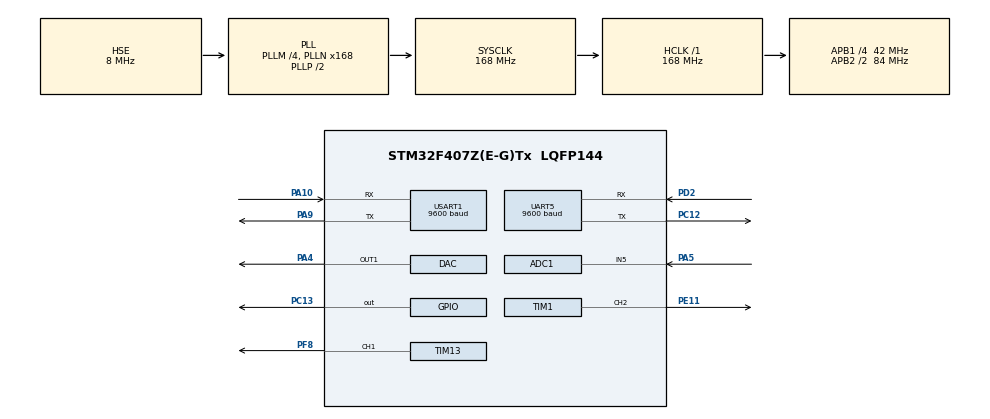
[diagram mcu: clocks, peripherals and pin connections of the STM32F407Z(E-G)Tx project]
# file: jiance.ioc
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ADC1.Channel-0\#ChannelRegularConversion=ADC_CHANNEL_5
ADC1.ClockPrescaler=ADC_CLOCK_SYNC_PCLK_DIV8
ADC1.ContinuousConvMode=DISABLE
ADC1.DMAContinuousRequests=ENABLE
ADC1.ExternalTrigConv=ADC_EXTERNALTRIGCONV_T3_TRGO
ADC1.NbrOfConversionFlag=1
ADC1.Rank-0\#ChannelRegularConversion=1
ADC1.SamplingTime-0\#ChannelRegularConversion=ADC_SAMPLETIME_480CYCLES
ADC1.master=1
DAC.DAC_Trigger=DAC_TRIGGER_T6_TRGO
Dma.ADC1.0.Direction=DMA_PERIPH_TO_MEMORY
Dma.ADC1.0.FIFOMode=DMA_FIFOMODE_DISABLE
Dma.ADC1.0.Instance=DMA2_Stream0
Dma.ADC1.0.MemDataAlignment=DMA_MDATAALIGN_HALFWORD
Dma.ADC1.0.MemInc=DMA_MINC_ENABLE
Dma.ADC1.0.Mode=DMA_CIRCULAR
Dma.ADC1.0.PeriphDataAlignment=DMA_PDATAALIGN_HALFWORD
Dma.ADC1.0.PeriphInc=DMA_PINC_DISABLE
Dma.ADC1.0.Priority=DMA_PRIORITY_HIGH
Dma.DAC1.2.Direction=DMA_MEMORY_TO_PERIPH
Dma.DAC1.2.FIFOMode=DMA_FIFOMODE_DISABLE
Dma.DAC1.2.Instance=DMA1_Stream5
Dma.DAC1.2.MemDataAlignment=DMA_MDATAALIGN_HALFWORD
Dma.DAC1.2.MemInc=DMA_MINC_ENABLE
Dma.DAC1.2.Mode=DMA_CIRCULAR
Dma.DAC1.2.PeriphDataAlignment=DMA_PDATAALIGN_HALFWORD
Dma.DAC1.2.PeriphInc=DMA_PINC_DISABLE
Dma.DAC1.2.Priority=DMA_PRIORITY_HIGH
Dma.Request0=ADC1
Dma.Request1=TIM1_CH2
Dma.Request2=DAC1
Dma.TIM1_CH2.1.Direction=DMA_MEMORY_TO_PERIPH
Dma.TIM1_CH2.1.FIFOMode=DMA_FIFOMODE_DISABLE
Dma.TIM1_CH2.1.Instance=DMA2_Stream2
Dma.TIM1_CH2.1.MemDataAlignment=DMA_MDATAALIGN_HALFWORD
Dma.TIM1_CH2.1.MemInc=DMA_MINC_ENABLE
Dma.TIM1_CH2.1.Mode=DMA_NORMAL
Dma.TIM1_CH2.1.PeriphDataAlignment=DMA_PDATAALIGN_HALFWORD
Dma.TIM1_CH2.1.PeriphInc=DMA_PINC_DISABLE
Dma.TIM1_CH2.1.Priority=DMA_PRIORITY_HIGH
FREERTOS.Queues01=myUartQueue,16,uint8_t,0,Dynamic,NULL,NULL
FREERTOS.Tasks01=defaultTask,24,128,StartDefaultTask,Default,NULL,Dynamic,NULL,NULL;Warnning,8,128,StartWarnningTask,Default,NULL,Dynamic,NULL,NULL
FREERTOS.configENABLE_FPU=1
Mcu.Family=STM32F4
Mcu.Name=STM32F407Z(E-G)Tx
Mcu.Package=LQFP144
NVIC.DMA1_Stream5_IRQn=true\:5\:0\:false\:false\:true\:true\:false\:true\:true
NVIC.DMA2_Stream0_IRQn=true\:5\:0\:false\:false\:true\:true\:false\:true\:true
NVIC.DMA2_Stream2_IRQn=true\:5\:0\:false\:false\:true\:true\:false\:true\:true
NVIC.PriorityGroup=NVIC_PRIORITYGROUP_4
NVIC.TIM8_TRG_COM_TIM14_IRQn=true\:15\:0\:false\:false\:true\:false\:false\:true\:true
NVIC.TimeBase=TIM8_TRG_COM_TIM14_IRQn
NVIC.TimeBaseIP=TIM14
NVIC.UART5_IRQn=true\:5\:0\:false\:false\:true\:true\:true\:true\:true
NVIC.USART1_IRQn=true\:5\:0\:false\:false\:true\:true\:true\:true\:true
PA10.Mode=Asynchronous
PA10.Signal=USART1_RX
PA13.Mode=Serial_Wire
PA13.Signal=SYS_JTMS-SWDIO
PA14.Mode=Serial_Wire
PA14.Signal=SYS_JTCK-SWCLK
PA4.Signal=COMP_DAC1_group
PA5.Signal=ADCx_IN5
PA9.Mode=Asynchronous
PA9.Signal=USART1_TX
PC12.Mode=Asynchronous
PC12.Signal=UART5_TX
PC13-ANTI_TAMP.Signal=GPIO_Output
PD2.Mode=Asynchronous
PD2.Signal=UART5_RX
PE11.Signal=S_TIM1_CH2
PF8.Signal=S_TIM13_CH1
PH0-OSC_IN.Mode=HSE-External-Oscillator
PH0-OSC_IN.Signal=RCC_OSC_IN
PH1-OSC_OUT.Mode=HSE-External-Oscillator
PH1-OSC_OUT.Signal=RCC_OSC_OUT
ProjectManager.HeapSize=0x200
ProjectManager.StackSize=0x400
ProjectManager.TargetToolchain=MDK-ARM V5.32
RCC.48MHZClocksFreq_Value=84000000
RCC.AHBFreq_Value=168000000
RCC.APB1CLKDivider=RCC_HCLK_DIV4
RCC.APB1Freq_Value=42000000
RCC.APB1TimFreq_Value=84000000
RCC.APB2CLKDivider=RCC_HCLK_DIV2
RCC.APB2Freq_Value=84000000
RCC.APB2TimFreq_Value=168000000
RCC.CortexFreq_Value=168000000
RCC.HCLKFreq_Value=168000000
RCC.HSE_VALUE=8000000
RCC.HSI_VALUE=16000000
RCC.LSE_VALUE=32768
RCC.PLLM=4
RCC.PLLN=168
RCC.PLLSourceVirtual=RCC_PLLSOURCE_HSE
RCC.SYSCLKFreq_VALUE=168000000
RCC.SYSCLKSource=RCC_SYSCLKSOURCE_PLLCLK
RCC.VCOOutputFreq_Value=336000000
SH.ADCx_IN5.0=ADC1_IN5,IN5
SH.COMP_DAC1_group.0=DAC_OUT1,DAC_OUT1
SH.S_TIM13_CH1.0=TIM13_CH1,PWM Generation1 CH1
SH.S_TIM1_CH2.0=TIM1_CH2,PWM Generation2 CH2
STMicroelectronics.X-CUBE-ALGOBUILD.1.3.0.LibraryCcDSPOoLibraryJjDSPOoLibrary=true
TIM1.AutoReloadPreload=TIM_AUTORELOAD_PRELOAD_ENABLE
TIM1.Channel-PWM\ Generation2\ CH2=TIM_CHANNEL_2
TIM1.Period=209
TIM1.Prescaler=0
TIM1.TIM_MasterOutputTrigger=TIM_TRGO_RESET
TIM13.AutoReloadPreload=TIM_AUTORELOAD_PRELOAD_ENABLE
TIM13.Channel=TIM_CHANNEL_1
TIM13.Period=999
TIM13.Prescaler=83
TIM13.Pulse=499
TIM3.Period=99
TIM3.Prescaler=83
TIM3.TIM_MasterOutputTrigger=TIM_TRGO_UPDATE
TIM6.AutoReloadPreload=TIM_AUTORELOAD_PRELOAD_ENABLE
TIM6.Period=839
TIM6.Prescaler=0
TIM6.TIM_MasterOutputTrigger=TIM_TRGO_UPDATE
UART5.BaudRate=9600
UART5.VirtualMode=Asynchronous
USART1.BaudRate=9600
USART1.VirtualMode=VM_ASYNC
VP_FREERTOS_VS_CMSIS_V2.Mode=CMSIS_V2
VP_STMicroelectronics.X-CUBE-ALGOBUILD_VS_DSPOoLibraryJjLibrary_1.3.0_1.3.0.Mode=DSPOoLibraryJjLibrary
VP_SYS_VS_tim14.Mode=TIM14
VP_TIM13_VS_ClockSourceINT.Mode=Enable_Timer
VP_TIM1_VS_ClockSourceINT.Mode=Internal
VP_TIM3_VS_ClockSourceINT.Mode=Internal
VP_TIM6_VS_ClockSourceINT.Mode=Enable_Timer
board=custom

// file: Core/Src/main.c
/* USER CODE BEGIN Header */
///**
//  ******************************************************************************
//  * @file           : main.c
//  * @brief          : Main program body
//  ******************************************************************************
//  * @attention
//  *
//  * Copyright (c) 2025 STMicroelectronics.
//  * All rights reserved.
//  *
//  * This software is licensed under terms that can be found in the LICENSE file
//  * in the root directory of this software component.
//  * If no LICENSE file comes with this software, it is provided AS-IS.
//  *
//  ******************************************************************************
//  */
/* USER CODE END Header */
#include "main.h"
#include "cmsis_os.h"

/* USER CODE BEGIN Includes */
//#include "stdio.h"
//#include "arm_math.h"
//#include "TJC.h"
//#include "FFT.h"
//#include "warnning.h"
//#include "Wave.h"
/* USER CODE END Includes */

/* USER CODE BEGIN PD */
//#define ADC_BUFFER_SIZE 256                     // ADC采样点数
//#define VREF 3.3f                               // 基准电压
//#define DataREF 4095.0f

/* USER CODE END PD */

/* USER CODE BEGIN PV */

//uint8_t   usart5_flag;
//uint8_t   usart5_len = 0;
//uint8_t   usart5_data;
//uint8_t   usart5_databuf[4];
//uint16_t  adcBuf0[ADC_BUFFER_SIZE];
//uint16_t  adcBuf1[ADC_BUFFER_SIZE];

//FFT_ParameterTypeDef fftParam;

//float    voltage = 0.0;
//volatile uint8_t FlagDma = 0;                               // DMA传输完成标志位
//volatile uint8_t FlagTrs = 0;                               // 开始检测标志位
//volatile uint8_t FlagHalf = 0;                              // 半缓冲完成标志位
//volatile uint8_t processingBuf = 0;

/* USER CODE END PV */

void SystemClock_Config(void);
void MX_FREERTOS_Init(void);

/* USER CODE BEGIN 0 */

//int fputc(int ch, FILE *f)
//{
//    HAL_UART_Transmit(&huart1, (uint8_t*)&ch, 1, HAL_MAX_DELAY);
//    return ch;
//}
/* USER CODE END 0 */

int main(void)
{

  /* MCU Configuration--------------------------------------------------------*/

  /* Reset of all peripherals, Initializes the Flash interface and the Systick. */
  HAL_Init();

  /* Configure the system clock */
  SystemClock_Config();

  /* Initialize all configured peripherals */
  MX_GPIO_Init();
  MX_DMA_Init();
  MX_UART5_Init();
  MX_TIM1_Init();
  MX_USART1_UART_Init();
  MX_TIM13_Init();
  MX_ADC1_Init();
  MX_TIM3_Init();
  MX_DAC_Init();
  MX_TIM6_Init();
  /* USER CODE BEGIN 2 */
//
////	WS2812B_Init();

//	HAL_ADC_Start_DMA(&hadc1, (uint32_t*)adcBuf0, ADC_BUFFER_SIZE);        // 开启ADC-DMA
//	HAL_TIM_Base_Start(&htim3);                                           // 开启时钟
//	HAL_UART_Receive_IT(&huart5, &usart5_data, 1);                     // 开启uart中断
  /* USER CODE END 2 */

  /* Init scheduler */
  osKernelInitialize();  /* Call init function for freertos objects (in freertos.c) */
  MX_FREERTOS_Init();

  /* Start scheduler */
  osKernelStart();
  /* We should never get here as control is now taken by the scheduler */
  /* Infinite loop */
  /* USER CODE BEGIN WHILE */
//  while (1)
//  {
    /* USER CODE END WHILE */

    /* USER CODE BEGIN 3 */
//		if(usart5_flag == 1)
//		{
//			if(usart5_databuf[0] == 0x00 && usart5_databuf[1] == 0x00)
//			{

//			}
//
//		}
//
//
//  }
  /* USER CODE END 3 */
}

void SystemClock_Config(void)
{
  RCC_OscInitTypeDef RCC_OscInitStruct = {0};
  RCC_ClkInitTypeDef RCC_ClkInitStruct = {0};

  /** Configure the main internal regulator output voltage
  */
  __HAL_RCC_PWR_CLK_ENABLE();
  __HAL_PWR_VOLTAGESCALING_CONFIG(PWR_REGULATOR_VOLTAGE_SCALE1);

  /** Initializes the RCC Oscillators according to the specified parameters
  * in the RCC_OscInitTypeDef structure.
  */
  RCC_OscInitStruct.OscillatorType = RCC_OSCILLATORTYPE_HSE;
  RCC_OscInitStruct.HSEState = RCC_HSE_ON;
  RCC_OscInitStruct.PLL.PLLState = RCC_PLL_ON;
  RCC_OscInitStruct.PLL.PLLSource = RCC_PLLSOURCE_HSE;
  RCC_OscInitStruct.PLL.PLLM = 4;
  RCC_OscInitStruct.PLL.PLLN = 168;
  RCC_OscInitStruct.PLL.PLLP = RCC_PLLP_DIV2;
  RCC_OscInitStruct.PLL.PLLQ = 4;
  if (HAL_RCC_OscConfig(&RCC_OscInitStruct) != HAL_OK)
  {
    Error_Handler();
  }

  /** Initializes the CPU, AHB and APB buses clocks
  */
  RCC_ClkInitStruct.ClockType = RCC_CLOCKTYPE_HCLK|RCC_CLOCKTYPE_SYSCLK
                              |RCC_CLOCKTYPE_PCLK1|RCC_CLOCKTYPE_PCLK2;
  RCC_ClkInitStruct.SYSCLKSource = RCC_SYSCLKSOURCE_PLLCLK;
  RCC_ClkInitStruct.AHBCLKDivider = RCC_SYSCLK_DIV1;
  RCC_ClkInitStruct.APB1CLKDivider = RCC_HCLK_DIV4;
  RCC_ClkInitStruct.APB2CLKDivider = RCC_HCLK_DIV2;

  if (HAL_RCC_ClockConfig(&RCC_ClkInitStruct, FLASH_LATENCY_5) != HAL_OK)
  {
    Error_Handler();
  }
}

/* USER CODE BEGIN 4 */

//void HAL_UART_RxCpltCallback(UART_HandleTypeDef *huart)
//{
//    if (huart->Instance == UART5)
//    {
//			usart5_databuf[usart5_len] = usart5_data;
//			usart5_len++;
//			if(usart5_len == 4)
//			{
//				usart5_flag = 1;
//				usart5_len = 0;
//			}

//    }
//		HAL_UART_Receive_IT(huart, &usart5_data, 1);
//
////		if(usart5_flag == 1)
////		{
////			if(usart5_databuf[0] == 0x00 && usart5_databuf[1] == 0x00)
////			{
////				HAL_GPIO_TogglePin(GPIOC,GPIO_PIN_13);
////				HAL_UART_Transmit(&huart5,usart5_databuf,4,HAL_MAX_DELAY);
////				usart5_flag = 0;
////			}
////
////		}
//
//}

////DMA双缓冲

//void HAL_ADC_ConvCpltCallback(ADC_HandleTypeDef* hadc)
//{
//  if (hadc->Instance == ADC1)
//  {
//		uint16_t* nextBuf = 0;
//		if(FlagHalf == 0)                       // 等数据处理完再转换
//		{
//			if(processingBuf == 0)
//			{
//				FlagHalf = 1;
//				processingBuf ^= 1;
//				nextBuf = adcBuf1;
//			}
//			else
//			{
//				FlagHalf = 2;
//				processingBuf ^= 1;
//				nextBuf = adcBuf0;
//			}
//
//			HAL_ADC_Stop_DMA(&hadc1);  // 先停止
//			HAL_ADC_Start_DMA(&hadc1, (uint32_t*)nextBuf, ADC_BUFFER_SIZE); // 再启动
//		}

//
//  }
//}

/* USER CODE END 4 */

void HAL_TIM_PeriodElapsedCallback(TIM_HandleTypeDef *htim)
{
  if (htim->Instance == TIM14) {
    HAL_IncTick();
  }
}

void Error_Handler(void)
{
  /* USER CODE BEGIN Error_Handler_Debug */
//  /* User can add his own implementation to report the HAL error return state */
//  __disable_irq();
//  while (1)
//  {
//  }
  /* USER CODE END Error_Handler_Debug */
}

#ifdef  USE_FULL_ASSERT
/**
  * @brief  Reports the name of the source file and the source line number
  *         where the assert_param error has occurred.
  * @param  file: pointer to the source file name
  * @param  line: assert_param error line source number
  * @retval None
  */
void assert_failed(uint8_t *file, uint32_t line)
{
  /* USER CODE BEGIN 6 */
//  /* User can add his own implementation to report the file name and line number,
//     ex: printf("Wrong parameters value: file %s on line %d\r\n", file, line) */
  /* USER CODE END 6 */
}
#endif /* USE_FULL_ASSERT */

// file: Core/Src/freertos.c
/* USER CODE BEGIN Header */
/**
  ******************************************************************************
  * File Name          : freertos.c
  * Description        : Code for freertos applications
  ******************************************************************************
  * @attention
  *
  * Copyright (c) 2025 STMicroelectronics.
  * All rights reserved.
  *
  * This software is licensed under terms that can be found in the LICENSE file
  * in the root directory of this software component.
  * If no LICENSE file comes with this software, it is provided AS-IS.
  *
  ******************************************************************************
  */
/* USER CODE END Header */

#include "FreeRTOS.h"
#include "task.h"
#include "main.h"
#include "cmsis_os.h"

/* USER CODE BEGIN Includes */
#include "stdio.h"
#include "arm_math.h"
#include "TJC.h"
#include "FFT.h"
#include "warnning.h"
#include "Wave.h"
/* USER CODE END Includes */

/* USER CODE BEGIN PD */
#define ADC_BUFFER_SIZE 256                     // ADC采样点数
#define VREF 3.3f                               // 基准电压
#define DataREF 4095.0f

/* USER CODE END PD */

/* USER CODE BEGIN Variables */

uint8_t   usart5_flag;
uint8_t   usart5_len = 0;
uint8_t   usart5_data;
uint8_t   usart5_databuf[4];

uint16_t  adcBuf0[ADC_BUFFER_SIZE];
uint16_t  adcBuf1[ADC_BUFFER_SIZE];

FFT_ParameterTypeDef fftParam;

float    voltage = 0.0;
volatile uint8_t FlagDma = 0;                               // DMA传输完成标志位
volatile uint8_t FlagTrs = 0;                               // 开始检测标志位
volatile uint8_t FlagHalf = 0;                              // 半缓冲完成标志位
volatile uint8_t processingBuf = 0;

/* USER CODE END Variables */
/* Definitions for defaultTask */
osThreadId_t defaultTaskHandle;
const osThreadAttr_t defaultTask_attributes = {
  .name = "defaultTask",
  .stack_size = 128 * 4,
  .priority = (osPriority_t) osPriorityNormal,
};
/* Definitions for Warnning */
osThreadId_t WarnningHandle;
const osThreadAttr_t Warnning_attributes = {
  .name = "Warnning",
  .stack_size = 128 * 4,
  .priority = (osPriority_t) osPriorityLow,
};
/* Definitions for myUartQueue */
osMessageQueueId_t myUartQueueHandle;
const osMessageQueueAttr_t myUartQueue_attributes = {
  .name = "myUartQueue"
};

/* USER CODE BEGIN FunctionPrototypes */
int fputc(int ch, FILE *f)
{
    HAL_UART_Transmit(&huart1, (uint8_t*)&ch, 1, HAL_MAX_DELAY);
    return ch;
}
/* USER CODE END FunctionPrototypes */

void StartDefaultTask(void *argument);
void StartWarnningTask(void *argument);

void MX_FREERTOS_Init(void); /* (MISRA C 2004 rule 8.1) */

void MX_FREERTOS_Init(void) {
  /* USER CODE BEGIN Init */
//		WS2812B_Init();

//		HAL_ADC_Start_DMA(&hadc1, (uint32_t*)adcBuf0, ADC_BUFFER_SIZE);        // 开启ADC-DMA
//		HAL_TIM_Base_Start(&htim3);                                           // 开启时钟
//		HAL_UART_Receive_IT(&huart5, &usart5_data, 1);                     // 开启uart中断
  /* USER CODE END Init */

  /* Create the queue(s) */
  /* creation of myUartQueue */
  myUartQueueHandle = osMessageQueueNew (16, sizeof(uint8_t), &myUartQueue_attributes);

  /* Create the thread(s) */
  /* creation of defaultTask */
  defaultTaskHandle = osThreadNew(StartDefaultTask, NULL, &defaultTask_attributes);

  /* creation of Warnning */
  WarnningHandle = osThreadNew(StartWarnningTask, NULL, &Warnning_attributes);

}

void StartDefaultTask(void *argument)
{
  /* USER CODE BEGIN StartDefaultTask */
	uint8_t   data = 1;

	HAL_UART_Receive_IT(&huart5, &usart5_data, 1);
  /* Infinite loop */
  for(;;)
  {
		if(usart5_flag == 1)
		{
			if(usart5_databuf[0] == 0x01)
			{
//				HAL_GPIO_TogglePin(GPIOC,GPIO_PIN_13);
				HAL_UART_Transmit(&huart5, usart5_databuf, 4, HAL_MAX_DELAY);
				usart5_flag = 0;
			}
		}
		osDelay(5);
  }
  /* USER CODE END StartDefaultTask */
}

void StartWarnningTask(void *argument)
{
  /* USER CODE BEGIN StartWarnningTask */

  /* Infinite loop */
  for(;;)
  {
		HAL_GPIO_TogglePin(GPIOC,GPIO_PIN_13);
    osDelay(1000);
  }
  /* USER CODE END StartWarnningTask */
}

/* USER CODE BEGIN Application */

void HAL_UART_RxCpltCallback(UART_HandleTypeDef *huart)
{
    if (huart->Instance == UART5)
    {
			if (huart->Instance == UART5)
			{
				usart5_databuf[usart5_len] = usart5_data;
				usart5_len++;
				if(usart5_len == 4)
				{
					usart5_flag = 1;
					usart5_len = 0;
				}
				HAL_UART_Receive_IT(&huart5, &usart5_data, 1);
			}
    }

}

/* USER CODE END Application */
